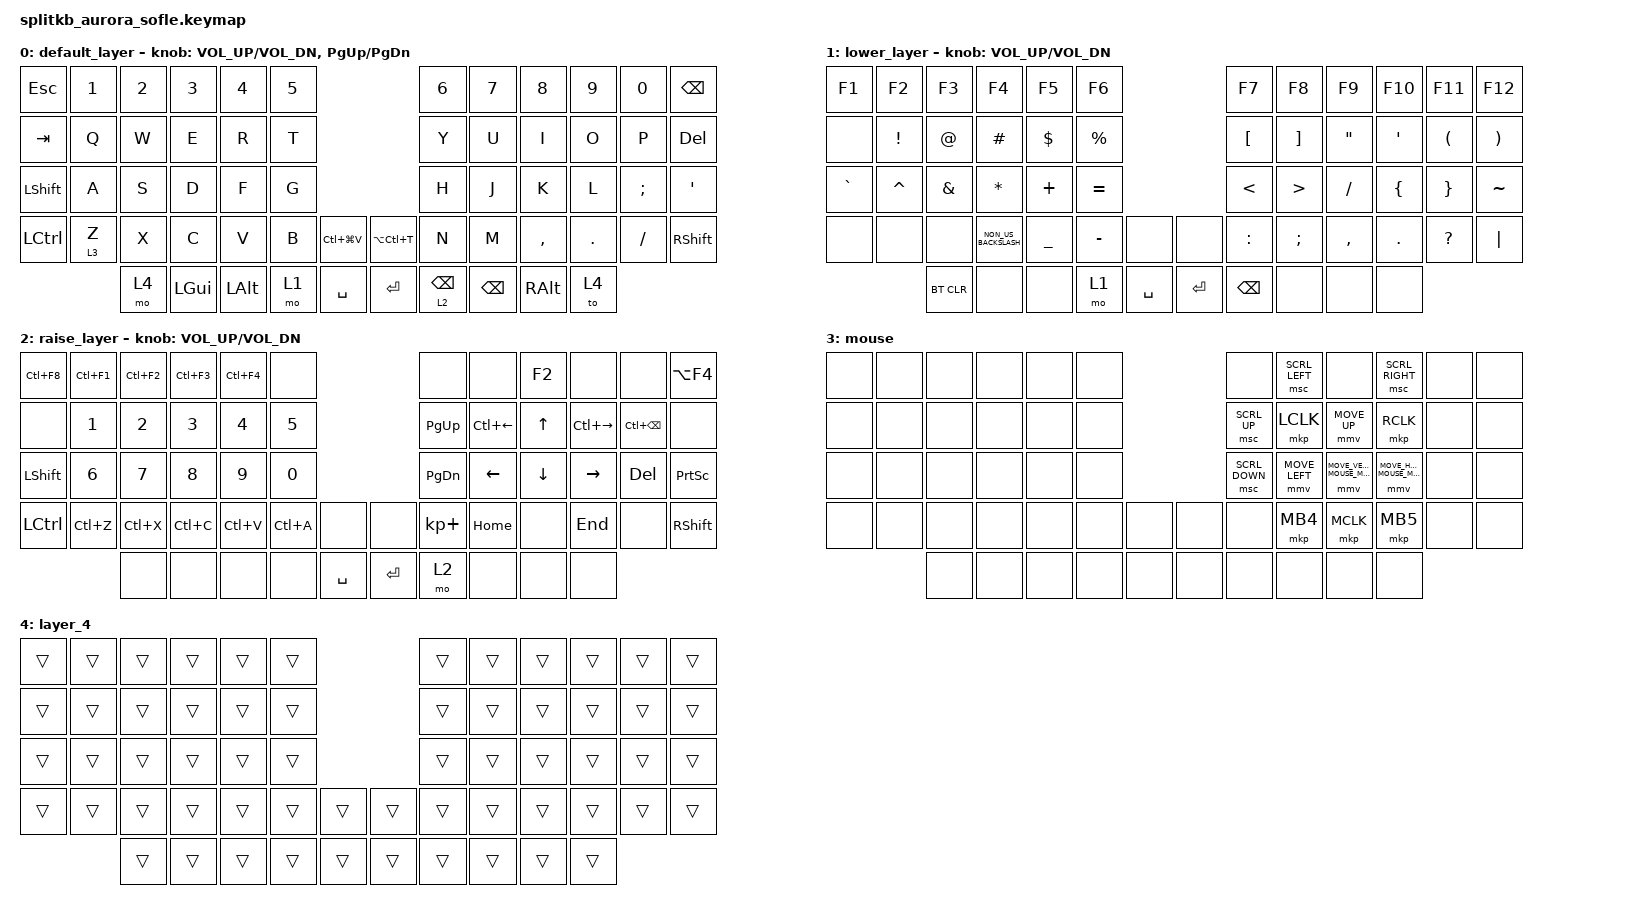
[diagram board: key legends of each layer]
/*
 * Copyright (c) 2023 The ZMK Contributors
 *
 * SPDX-License-Identifier: MIT
 */

#define U_MOUSE_MOVE_MAX 2250
#define U_MOUSE_MOVE_EXPONENT 2
#define U_MOUSE_MOVE_TIME 650
#define U_MOUSE_MOVE_DELAY 0
#define U_MOUSE_SCROLL_MAX 80
#define U_MOUSE_SCROLL_EXPONENT 1
#define U_MOUSE_SCROLL_TIME 5000
#define U_MOUSE_SCROLL_DELAY 0

#undef MOVE_UP
#undef MOVE_DOWN
#undef MOVE_LEFT
#undef MOVE_RIGHT
#undef SCROLL_UP
#undef SCROLL_DOWN
#undef SCROLL_LEFT
#undef SCROLL_RIGHT

#define MOVE_UP MOVE_VERT(-U_MOUSE_MOVE_MAX)
#define MOVE_DOWN MOVE_VERT(U_MOUSE_MOVE_MAX)
#define MOVE_LEFT MOVE_HOR(-U_MOUSE_MOVE_MAX)
#define MOVE_RIGHT MOVE_HOR(U_MOUSE_MOVE_MAX)
#define SCROLL_UP SCROLL_VERT(U_MOUSE_SCROLL_MAX)
#define SCROLL_DOWN SCROLL_VERT(-U_MOUSE_SCROLL_MAX)
#define SCROLL_LEFT SCROLL_HOR(-U_MOUSE_SCROLL_MAX)
#define SCROLL_RIGHT SCROLL_HOR(U_MOUSE_SCROLL_MAX)

#include <behaviors.dtsi>
#include <dt-bindings/zmk/bt.h>
#include <dt-bindings/zmk/keys.h>
#include <dt-bindings/zmk/pointing.h>
#include <dt-bindings/zmk/pointing.h>
#include <dt-bindings/zmk/pointing.h>

/* Uncomment this block if using RGB
&led_strip {
    chain-length = <6>;
    // chain-length = <35>; // Uncomment if using both per-key and underglow LEDs
    // chain-length = <29>; // Uncomment if using only per-key LEDs.
};
 */

/ {
    keymap {
        compatible = "zmk,keymap";

        default_layer {
            // ------------------------------------------------------------------------------------------------------------
            // |  ESC  |  1  |  2  |  3   |  4   |  5   |                   |  6   |  7    |  8    |  9   |   0   |   `   |
            // |  TAB  |  Q  |  W  |  E   |  R   |  T   |                   |  Y   |  U    |  I    |  O   |   P   |   -   |
            // |  CTRL |  A  |  S  |  D   |  F   |  G   |                   |  H   |  J    |  K    |  L   |   ;   |   '   |
            // | SHIFT |  Z  |  X  |  C   |  V   |  B   |   "["  |  |  "]"  |  N   |  M    |  ,    |  .   |   /   | SHIFT |
            //               |CTRL | ALT  | GUI  | LOWER|  SPACE |  | ENTER | RAISE| BSPC  | GUI   | RALT |

            bindings = <
&kp ESC           &kp N1   &kp N2  &kp N3        &kp N4        &kp N5                                  &kp N6           &kp N7         &kp N8         &kp N9   &kp N0    &kp BACKSPACE
&kp TAB           &kp Q    &kp W   &kp E         &kp R         &kp T                                   &kp Y            &kp U          &kp I          &kp O    &kp P     &kp DEL
&kp LEFT_SHIFT    &kp A    &kp S   &kp D         &kp F         &kp G                                   &kp H            &kp J          &kp K          &kp L    &kp SEMI  &kp SQT
&kp LEFT_CONTROL  &lt 3 Z  &kp X   &kp C         &kp V         &kp B   &kp LC(LG(V))    &kp LA(LC(T))  &kp N            &kp M          &kp COMMA      &kp DOT  &kp FSLH  &kp RSHFT
                           &mo 4   &kp LEFT_GUI  &kp LEFT_ALT  &mo 1   &kp SPACE        &kp RET        &lt 2 BACKSPACE  &kp BACKSPACE  &kp RIGHT_ALT  &to 4
            >;

            sensor-bindings =
                <&inc_dec_kp C_VOL_UP C_VOL_DN>,
                <&inc_dec_kp PG_UP PAGE_DOWN>;
        };

        lower_layer {
            // ------------------------------------------------------------------------------------------------------------
            // | BTCLR | BT1 | BT2 |  BT3 |  BT4 |  BT5 |                   |      |       |       |      |       |       |
            // |  F1   |  F2 |  F3 |  F4  |  F5  |  F6  |                   |  F7  |  F8   |  F9   |  F10 |  F11  |  F12  |
            // |   `   |  !  |  @  |  #   |  $   |  %   |                   |  ^   |  &    |  *    |  (   |   )   |   ~   |
            // |       |     |     |      |      |      |        |  |       |      |  _    |  +    |  {   |   }   |  "|"  |
            //               |     |      |      |      |        |  |       |      |       |       |      |

            bindings = <
&kp F1     &kp F2           &kp F3         &kp F4                &kp F5      &kp F6                               &kp F7            &kp F8             &kp F9             &kp F10         &kp F11               &kp F12
&none      &kp EXCLAMATION  &kp AT_SIGN    &kp HASH              &kp DOLLAR  &kp PERCENT                          &kp LEFT_BRACKET  &kp RIGHT_BRACKET  &kp DOUBLE_QUOTES  &kp SQT         &kp LEFT_PARENTHESIS  &kp RIGHT_PARENTHESIS
&kp GRAVE  &kp CARET        &kp AMPERSAND  &kp ASTERISK          &kp PLUS    &kp EQUAL                            &kp LESS_THAN     &kp GREATER_THAN   &kp SLASH          &kp LEFT_BRACE  &kp RIGHT_BRACE       &kp TILDE
&none      &none            &none          &kp NON_US_BACKSLASH  &kp UNDER   &kp MINUS    &none        &none      &kp COLON         &kp SEMICOLON      &kp COMMA          &kp PERIOD      &kp QUESTION          &kp PIPE
                            &bt BT_CLR     &none                 &none       &mo 1        &kp SPACE    &kp ENTER  &kp BACKSPACE     &none              &none              &none
            >;

            sensor-bindings = <&inc_dec_kp C_VOL_UP C_VOL_DN>;
        };

        raise_layer {
            // ------------------------------------------------------------------------------------------------------------
            // |       |     |     |      |      |      |                   |      |       |       |      |       |       |
            // |   `   |  1  |  2  |  3   |  4   |  5   |                   |  6   |   7   |   8   |  9   |   0   |       |
            // |   F1  |  F2 |  F3 |  F4  |  F5  |  F6  |                   |      |   <-  |   v   |  ^   |  ->   |       |
            // |   F7  |  F8 |  F9 |  F10 |  F11 |  F12 |        |  |       |  +   |   -   |   =   |  [   |   ]   |   \   |
            //               |     |      |      |      |        |  |       |      |       |       |      |

            bindings = <
&kp LC(F8)      &kp LC(F1)    &kp LC(F2)  &kp LC(F3)  &kp LC(F4)  &none                              &none          &none         &kp F2        &none            &none              &kp LA(F4)
&none           &kp N1        &kp N2      &kp N3      &kp N4      &kp N5                             &kp PAGE_UP    &kp LC(LEFT)  &kp UP_ARROW  &kp LC(RIGHT)    &kp LC(BACKSPACE)  &none
&kp LEFT_SHIFT  &kp NUMBER_6  &kp N7      &kp N8      &kp N9      &kp N0                             &kp PAGE_DOWN  &kp LEFT      &kp DOWN      &kp RIGHT_ARROW  &kp DEL            &kp PRINTSCREEN
&kp LCTRL       &kp LC(Z)     &kp LC(X)   &kp LC(C)   &kp LC(V)   &kp LC(A)  &none        &none      &kp KP_PLUS    &kp HOME      &none         &kp END          &none              &kp RIGHT_SHIFT
                              &none       &none       &none       &none      &kp SPACE    &kp ENTER  &mo 2          &none         &none         &none
            >;

            sensor-bindings = <&inc_dec_kp C_VOL_UP C_VOL_DN>;
        };

        mouse {
            bindings = <
&none  &none  &none  &none  &none  &none                  &none           &msc SCRL_LEFT  &none           &msc SCRL_RIGHT  &none  &none
&none  &none  &none  &none  &none  &none                  &msc SCRL_UP    &mkp LCLK       &mmv MOVE_UP    &mkp RCLK        &none  &none
&none  &none  &none  &none  &none  &none                  &msc SCRL_DOWN  &mmv MOVE_LEFT  &mmv MOVE_DOWN  &mmv MOVE_RIGHT  &none  &none
&none  &none  &none  &none  &none  &none  &none    &none  &none           &mkp MB4        &mkp MCLK       &mkp MB5         &none  &none
              &none  &none  &none  &none  &none    &none  &none           &none           &none           &none
            >;
        };

        layer_4 {
            bindings = <
&trans  &trans  &trans  &trans  &trans  &trans                    &trans  &trans  &trans  &trans  &trans  &trans
&trans  &trans  &trans  &trans  &trans  &trans                    &trans  &trans  &trans  &trans  &trans  &trans
&trans  &trans  &trans  &trans  &trans  &trans                    &trans  &trans  &trans  &trans  &trans  &trans
&trans  &trans  &trans  &trans  &trans  &trans  &trans    &trans  &trans  &trans  &trans  &trans  &trans  &trans
                &trans  &trans  &trans  &trans  &trans    &trans  &trans  &trans  &trans  &trans
            >;
        };
    };
};
